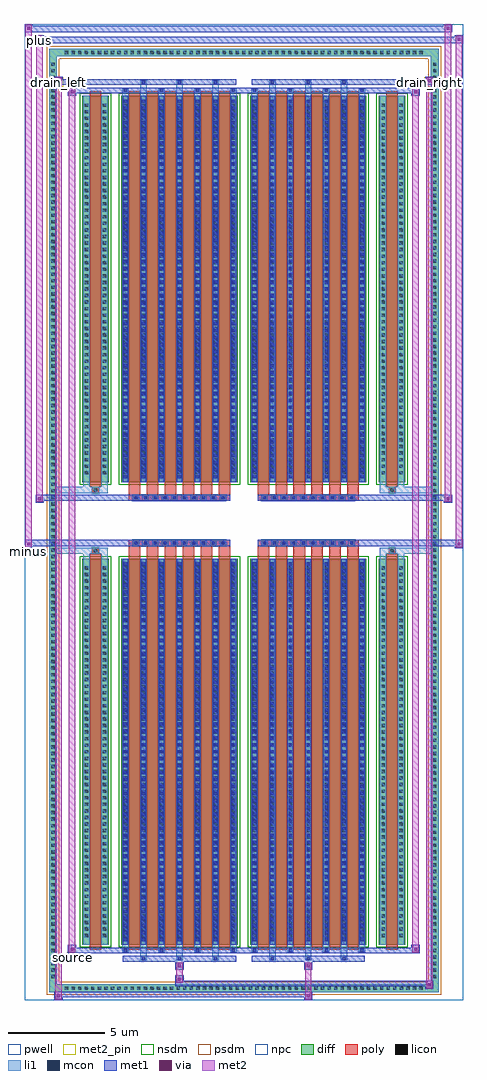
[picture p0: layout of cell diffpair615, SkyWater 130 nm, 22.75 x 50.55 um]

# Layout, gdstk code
import gdstk
lib = gdstk.Library(unit=1e-6, precision=5e-09)
def R(c, l, rs):  # rectangles x0, y0, x1, y1
    for r in rs: c.add(gdstk.rectangle(r[:2], r[2:], *l))
def A(c, l, x, y, w, h, nx, ny, dx, dy):  # array of equal rectangles
    R(c, l, [(x+i*dx, y+j*dy, x+i*dx+w, y+j*dy+h) for i in range(nx) for j in range(ny)])
def P(c, l, *ps):  # polygons
    for p in ps: c.add(gdstk.Polygon(p, *l))
pwell = (64, 44)
diff = (65, 20)
poly = (66, 20)
licon = (66, 44)
li1 = (67, 20)
mcon = (67, 44)
met1 = (68, 20)
via = (68, 44)
met2_pin = (69, 16)
met2 = (69, 20)
nsdm = (93, 44)
psdm = (94, 20)
npc = (95, 20)

diffpair615 = lib.new_cell('diffpair615')
R(diffpair615, pwell, [(-11.36,-24.84,11.36,25.71), (-8.68,-23.03,-0.01,-0.805), (0.01,-23.03,8.68,-0.805), (-8.68,0.805,-0.01,23.03), (0.01,0.805,8.68,23.03)])
A(diffpair615, diff, -9.385, -24.44, 0.41, 0.41, 55, 2, 0.34, 48.47)
A(diffpair615, diff, -10.09, -23.835, 0.41, 0.41, 1, 140, 0, 0.34)
A(diffpair615, diff, 9.68, -23.835, 0.41, 0.41, 1, 140, 0, 0.34)
R(diffpair615, diff, [(-9.385,-24.44,9.385,-24.03), (-10.09,-23.835,-9.68,23.835), (9.68,-23.835,10.09,23.835), (-8.37,-21.985,-6.99,-1.985), (-6.35,-21.985,-0.32,-1.985), (0.32,-21.985,6.35,-1.985), (6.99,-21.985,8.37,-1.985), (-8.37,1.985,-6.99,21.985), (-6.35,1.985,-0.32,21.985), (0.32,1.985,6.35,21.985), (6.99,1.985,8.37,21.985), (-9.385,24.03,9.385,24.44)])
P(diffpair615, diff, [(10.09,24.44),(-10.09,24.44),(-10.09,-24.03),(-9.68,-24.03),(-9.68,24.03),(9.68,24.03),(9.68,-24.03),(-9.68,-24.03),(-10.09,-24.03),(-10.09,-24.44),(10.09,-24.44)])
A(diffpair615, poly, -5.96, -22.235, 0.6, 20.5, 6, 2, 0.93, 23.97)
A(diffpair615, poly, 0.71, -22.235, 0.6, 20.5, 6, 2, 0.93, 23.97)
A(diffpair615, poly, -5.96, -1.735, 0.6, 0.4, 6, 2, 0.93, 3.07)
A(diffpair615, poly, 0.71, -1.735, 0.6, 0.4, 6, 2, 0.93, 3.07)
A(diffpair615, poly, -5.75, -1.335, 0.33, 0.33, 10, 2, 0.5, 2.34)
A(diffpair615, poly, 0.92, -1.335, 0.33, 0.33, 10, 2, 0.5, 2.34)
R(diffpair615, poly, [(-7.98,-22.235,-7.38,-1.735), (7.38,-22.235,7.98,-1.735), (-7.845,-1.735,-7.515,-1.405), (-7.845,-1.735,-7.515,-1.405), (7.515,-1.735,7.845,-1.405), (7.515,-1.735,7.845,-1.405), (-5.96,-1.335,-0.71,-1.005), (0.71,-1.335,5.96,-1.005), (-5.96,1.005,-0.71,1.335), (0.71,1.005,5.96,1.335), (-7.845,1.405,-7.515,1.735), (-7.845,1.405,-7.515,1.735), (7.515,1.405,7.845,1.735), (7.515,1.405,7.845,1.735), (-7.98,1.735,-7.38,22.235), (7.38,1.735,7.98,22.235)])
A(diffpair615, licon, -9.265, -24.32, 0.17, 0.17, 55, 2, 0.34, 48.47)
A(diffpair615, licon, -9.97, -23.715, 0.17, 0.17, 1, 140, 0, 0.34)
A(diffpair615, licon, 9.8, -23.715, 0.17, 0.17, 1, 140, 0, 0.34)
A(diffpair615, licon, -8.23, -21.59, 0.17, 0.17, 1, 57, 0, 0.34)
A(diffpair615, licon, -7.3, -21.59, 0.17, 0.17, 1, 57, 0, 0.34)
A(diffpair615, licon, -6.21, -21.59, 0.17, 0.17, 7, 57, 0.93, 0.34)
A(diffpair615, licon, 0.46, -21.59, 0.17, 0.17, 7, 57, 0.93, 0.34)
A(diffpair615, licon, 7.13, -21.59, 0.17, 0.17, 1, 57, 0, 0.34)
A(diffpair615, licon, 8.06, -21.59, 0.17, 0.17, 1, 57, 0, 0.34)
A(diffpair615, licon, -5.67, -1.255, 0.17, 0.17, 10, 2, 0.5, 2.34)
A(diffpair615, licon, 1, -1.255, 0.17, 0.17, 10, 2, 0.5, 2.34)
A(diffpair615, licon, -8.23, 2.38, 0.17, 0.17, 1, 57, 0, 0.34)
A(diffpair615, licon, -7.3, 2.38, 0.17, 0.17, 1, 57, 0, 0.34)
A(diffpair615, licon, -6.21, 2.38, 0.17, 0.17, 7, 57, 0.93, 0.34)
A(diffpair615, licon, 0.46, 2.38, 0.17, 0.17, 7, 57, 0.93, 0.34)
A(diffpair615, licon, 7.13, 2.38, 0.17, 0.17, 1, 57, 0, 0.34)
A(diffpair615, licon, 8.06, 2.38, 0.17, 0.17, 1, 57, 0, 0.34)
R(diffpair615, licon, [(-7.765,-1.655,-7.595,-1.485), (7.595,-1.655,7.765,-1.485), (-7.765,1.485,-7.595,1.655), (7.595,1.485,7.765,1.655)])
A(diffpair615, li1, -9.345, -24.4, 0.33, 0.33, 55, 2, 0.34, 48.47)
A(diffpair615, li1, -10.05, -23.795, 0.33, 0.33, 1, 140, 0, 0.34)
A(diffpair615, li1, 9.72, -23.795, 0.33, 0.33, 1, 140, 0, 0.34)
A(diffpair615, li1, -5.36, -22.79, 0.33, 0.805, 3, 2, 1.86, 44.775)
A(diffpair615, li1, -5.28, -22.79, 0.17, 0.17, 3, 2, 1.86, 45.41)
A(diffpair615, li1, 1.31, -22.79, 0.33, 0.805, 3, 2, 1.86, 44.775)
A(diffpair615, li1, 1.39, -22.79, 0.17, 0.17, 3, 2, 1.86, 45.41)
A(diffpair615, li1, -6.29, -22.36, 0.33, 0.375, 4, 2, 1.86, 44.345)
A(diffpair615, li1, -6.21, -22.36, 0.17, 0.17, 4, 2, 1.86, 44.55)
A(diffpair615, li1, 0.38, -22.36, 0.33, 0.375, 4, 2, 1.86, 44.345)
A(diffpair615, li1, 0.46, -22.36, 0.17, 0.17, 4, 2, 1.86, 44.55)
A(diffpair615, li1, -6.29, -21.985, 0.33, 20, 7, 2, 0.93, 23.97)
A(diffpair615, li1, 0.38, -21.985, 0.33, 20, 7, 2, 0.93, 23.97)
A(diffpair615, li1, -6.21, -21.79, 0.17, 0.17, 7, 55, 0.93, 0.36)
A(diffpair615, li1, -6.21, -21.79, 0.17, 19.61, 7, 2, 0.93, 23.97)
A(diffpair615, li1, 0.46, -21.79, 0.17, 0.17, 7, 55, 0.93, 0.36)
A(diffpair615, li1, 0.46, -21.79, 0.17, 19.61, 7, 2, 0.93, 23.97)
A(diffpair615, li1, -8.31, -21.67, 0.33, 0.33, 1, 57, 0, 0.34)
A(diffpair615, li1, -7.38, -21.67, 0.33, 0.33, 1, 57, 0, 0.34)
A(diffpair615, li1, -6.29, -21.67, 0.33, 0.33, 7, 57, 0.93, 0.34)
A(diffpair615, li1, 0.38, -21.67, 0.33, 0.33, 7, 57, 0.93, 0.34)
A(diffpair615, li1, 7.05, -21.67, 0.33, 0.33, 1, 57, 0, 0.34)
A(diffpair615, li1, 7.98, -21.67, 0.33, 0.33, 1, 57, 0, 0.34)
A(diffpair615, li1, -5.75, -1.335, 0.33, 0.33, 10, 2, 0.5, 2.34)
A(diffpair615, li1, 0.92, -1.335, 0.33, 0.33, 10, 2, 0.5, 2.34)
A(diffpair615, li1, -6.21, 2.18, 0.17, 0.17, 7, 55, 0.93, 0.36)
A(diffpair615, li1, 0.46, 2.18, 0.17, 0.17, 7, 55, 0.93, 0.36)
A(diffpair615, li1, -8.31, 2.3, 0.33, 0.33, 1, 57, 0, 0.34)
A(diffpair615, li1, -7.38, 2.3, 0.33, 0.33, 1, 57, 0, 0.34)
A(diffpair615, li1, -6.29, 2.3, 0.33, 0.33, 7, 57, 0.93, 0.34)
A(diffpair615, li1, 0.38, 2.3, 0.33, 0.33, 7, 57, 0.93, 0.34)
A(diffpair615, li1, 7.05, 2.3, 0.33, 0.33, 1, 57, 0, 0.34)
A(diffpair615, li1, 7.98, 2.3, 0.33, 0.33, 1, 57, 0, 0.34)
R(diffpair615, li1, [(-10.09,-24.44,-9.68,-24.03), (-10.09,-24.44,-9.68,-24.03), (-9.68,-24.44,9.68,-24.03), (9.68,-24.44,10.09,-24.03), (9.68,-24.44,10.09,-24.03), (-10.09,-24.03,-9.68,24.03), (9.68,-24.03,10.09,24.03), (-8.31,-21.985,-7.98,-1.985), (-7.38,-21.985,-7.05,-1.985), (7.05,-21.985,7.38,-1.985), (7.98,-21.985,8.31,-1.985), (-8.31,-1.985,-7.98,-1.405), (-7.38,-1.985,-7.05,-1.405), (7.05,-1.985,7.38,-1.405), (7.98,-1.985,8.31,-1.405), (-10.09,-1.735,-7.845,-1.405), (-8.31,-1.735,-7.845,-1.405), (-7.845,-1.735,-7.515,-1.405), (-7.515,-1.735,-7.05,-1.405), (7.05,-1.735,7.515,-1.405), (7.515,-1.735,7.845,-1.405), (7.515,-1.735,10.09,-1.405), (7.845,-1.735,8.31,-1.405), (-10.09,1.405,-7.845,1.735), (-8.31,1.405,-7.845,1.735), (-8.31,1.405,-7.98,1.985), (-7.845,1.405,-7.515,1.735), (-7.515,1.405,-7.05,1.735), (-7.38,1.405,-7.05,1.985), (7.05,1.405,7.515,1.735), (7.05,1.405,7.38,1.985), (7.515,1.405,7.845,1.735), (7.515,1.405,10.09,1.735), (7.845,1.405,8.31,1.735), (7.98,1.405,8.31,1.985), (-8.31,1.985,-7.98,21.985), (-7.38,1.985,-7.05,21.985), (7.05,1.985,7.38,21.985), (7.98,1.985,8.31,21.985), (-10.09,24.03,-9.68,24.44), (-10.09,24.03,-9.68,24.44), (-9.68,24.03,9.68,24.44), (9.68,24.03,10.09,24.44), (9.68,24.03,10.09,24.44)])
A(diffpair615, mcon, -5.28, -22.79, 0.17, 0.17, 3, 2, 1.86, 45.41)
A(diffpair615, mcon, 1.39, -22.79, 0.17, 0.17, 3, 2, 1.86, 45.41)
A(diffpair615, mcon, -6.21, -22.36, 0.17, 0.17, 4, 2, 1.86, 44.55)
A(diffpair615, mcon, 0.46, -22.36, 0.17, 0.17, 4, 2, 1.86, 44.55)
A(diffpair615, mcon, -6.21, -21.79, 0.17, 0.17, 7, 55, 0.93, 0.36)
A(diffpair615, mcon, 0.46, -21.79, 0.17, 0.17, 7, 55, 0.93, 0.36)
A(diffpair615, mcon, -5.67, -1.255, 0.17, 0.17, 10, 2, 0.5, 2.34)
A(diffpair615, mcon, 1, -1.255, 0.17, 0.17, 10, 2, 0.5, 2.34)
A(diffpair615, mcon, -6.21, 2.18, 0.17, 0.17, 7, 55, 0.93, 0.36)
A(diffpair615, mcon, 0.46, 2.18, 0.17, 0.17, 7, 55, 0.93, 0.36)
A(diffpair615, met1, -5.34, -22.85, 0.29, 0.29, 3, 2, 1.86, 45.41)
A(diffpair615, met1, 1.33, -22.85, 0.29, 0.29, 3, 2, 1.86, 45.41)
A(diffpair615, met1, -6.27, -22.42, 0.29, 0.29, 4, 2, 1.86, 44.55)
A(diffpair615, met1, 0.4, -22.42, 0.29, 0.29, 4, 2, 1.86, 44.55)
A(diffpair615, met1, -6.27, -21.985, 0.29, 20, 7, 2, 0.93, 23.97)
A(diffpair615, met1, 0.4, -21.985, 0.29, 20, 7, 2, 0.93, 23.97)
A(diffpair615, met1, -6.27, -21.85, 0.29, 0.29, 7, 55, 0.93, 0.36)
A(diffpair615, met1, 0.4, -21.85, 0.29, 0.29, 7, 55, 0.93, 0.36)
A(diffpair615, met1, -5.73, -1.315, 0.29, 0.29, 10, 2, 0.5, 2.34)
A(diffpair615, met1, 0.94, -1.315, 0.29, 0.29, 10, 2, 0.5, 2.34)
A(diffpair615, met1, -6.27, 2.12, 0.29, 0.29, 7, 55, 0.93, 0.36)
A(diffpair615, met1, 0.4, 2.12, 0.29, 0.29, 7, 55, 0.93, 0.36)
R(diffpair615, met1, [(-9.82,-24.84,-9.39,-24.41), (3.12,-24.84,3.55,-24.41), (-9.82,-24.7,3.55,-24.41), (9.39,-24.27,9.82,-23.84), (-3.55,-24.13,9.82,-23.84), (-3.55,-23.99,-3.12,-23.56), (-3.55,-23.28,-3.12,-22.85), (3.12,-23.28,3.55,-22.85), (-6.27,-22.85,-0.4,-22.56), (0.4,-22.85,6.27,-22.56), (-9.11,-22.42,-8.68,-21.99), (-9.11,-22.42,-6.27,-22.13), (-6.27,-22.42,-0.4,-22.13), (-0.4,-22.42,0.4,-22.13), (0.4,-22.42,6.27,-22.13), (6.27,-22.42,9.11,-22.13), (8.68,-22.42,9.11,-21.99), (-11.36,-1.435,-10.93,-1.005), (10.93,-1.435,11.36,-1.005), (-11.36,-1.335,-0.71,-1.005), (-5.96,-1.335,-0.71,-1.005), (0.71,-1.335,5.96,-1.005), (0.71,-1.335,11.36,-1.005), (-10.79,0.905,-10.36,1.335), (10.36,0.905,10.79,1.335), (-10.79,1.005,-5.96,1.335), (-5.96,1.005,-0.71,1.335), (0.71,1.005,5.96,1.335), (5.96,1.005,10.79,1.335), (-9.11,21.99,-8.68,22.42), (8.68,21.99,9.11,22.42), (-9.11,22.13,-6.27,22.42), (-6.27,22.13,-0.4,22.42), (-0.4,22.13,0.4,22.42), (0.4,22.13,6.27,22.42), (6.27,22.13,9.11,22.42), (-9.82,22.56,-9.39,22.99), (-9.82,22.56,-6.27,22.85), (-6.27,22.56,-0.4,22.85), (0.4,22.56,6.27,22.85), (6.27,22.56,9.82,22.85), (9.39,22.56,9.82,22.99), (-10.79,24.71,-10.36,25.14), (-10.79,24.71,-8.68,25.04), (-8.68,24.71,8.68,25.04), (8.68,24.71,11.36,25.04), (10.93,24.71,11.36,25.14), (-11.36,25.28,-10.93,25.71), (-11.36,25.28,-8.68,25.61), (-8.68,25.28,8.68,25.61), (8.68,25.28,10.79,25.61), (10.36,25.28,10.79,25.71)])
R(diffpair615, via, [(-9.68,-24.7,-9.53,-24.55), (3.26,-24.7,3.41,-24.55), (9.53,-24.13,9.68,-23.98), (-3.41,-23.85,-3.26,-23.7), (-3.41,-23.14,-3.26,-22.99), (3.26,-23.14,3.41,-22.99), (-8.97,-22.28,-8.82,-22.13), (8.82,-22.28,8.97,-22.13), (-11.22,-1.295,-11.07,-1.145), (11.07,-1.295,11.22,-1.145), (-10.65,1.045,-10.5,1.195), (10.5,1.045,10.65,1.195), (-8.97,22.13,-8.82,22.28), (8.82,22.13,8.97,22.28), (-9.68,22.7,-9.53,22.85), (9.53,22.7,9.68,22.85), (-10.65,24.85,-10.5,25), (11.07,24.85,11.22,25), (-11.22,25.42,-11.07,25.57), (10.5,25.42,10.65,25.57)])
R(diffpair615, met2_pin, [(-9.145,-22.87,-8.645,-22.37), (-11.395,-1.885,-10.895,-1.385), (-9.855,22.44,-9.355,22.94), (9.355,22.44,9.855,22.94), (-10.825,24.59,-10.325,25.09)])
R(diffpair615, met2, [(-9.77,-24.79,-9.44,-24.46), (-9.77,-24.79,-9.44,22.94), (3.17,-24.79,3.5,-24.46), (3.17,-24.46,3.5,-23.23), (9.44,-24.22,9.77,-23.89), (9.44,-24.22,9.77,22.94), (-3.5,-23.94,-3.17,-23.61), (-3.5,-23.61,-3.17,-23.23), (-3.5,-23.23,-3.17,-22.9), (3.17,-23.23,3.5,-22.9), (-9.06,-22.37,-8.73,-22.04), (-9.06,-22.37,-8.73,22.37), (8.73,-22.37,9.06,-22.04), (8.73,-22.37,9.06,22.37), (-11.31,-1.385,-10.98,-1.055), (-11.31,-1.385,-10.98,25.66), (10.98,-1.385,11.31,-1.055), (10.98,-1.385,11.31,25.09), (-10.74,0.955,-10.41,1.285), (-10.74,0.955,-10.41,25.09), (10.41,0.955,10.74,1.285), (10.41,0.955,10.74,25.66), (-9.06,22.04,-8.73,22.37), (8.73,22.04,9.06,22.37), (-9.77,22.61,-9.44,22.94), (9.44,22.61,9.77,22.94), (-10.74,24.76,-10.41,25.09), (10.98,24.76,11.31,25.09), (-11.31,25.33,-10.98,25.66), (10.41,25.33,10.74,25.66)])
P(diffpair615, met2, [(11.31,-1.385),(11.31,-1.385),(11.31,-1.055),(11.31,-1.055)],
  [(11.31,24.76),(11.31,24.76),(11.31,25.09),(11.31,25.09)],
  [(-10.98,-1.385),(-10.98,-1.385),(-10.98,-1.055),(-10.98,-1.055)],
  [(-10.98,25.33),(-10.98,25.33),(-10.98,25.66),(-10.98,25.66)],
  [(10.74,0.955),(10.74,0.955),(10.74,1.285),(10.74,1.285)],
  [(10.74,25.33),(10.74,25.33),(10.74,25.66),(10.74,25.66)],
  [(-10.41,0.955),(-10.41,0.955),(-10.41,1.285),(-10.41,1.285)],
  [(-10.41,24.76),(-10.41,24.76),(-10.41,25.09),(-10.41,25.09)],
  [(-9.44,-24.79),(-9.44,-24.79),(-9.44,-24.46),(-9.44,-24.46)],
  [(-9.44,22.61),(-9.44,22.61),(-9.44,22.94),(-9.44,22.94)],
  [(9.77,-24.22),(9.77,-24.22),(9.77,-23.89),(9.77,-23.89)],
  [(9.77,22.61),(9.77,22.61),(9.77,22.94),(9.77,22.94)],
  [(-8.73,-22.37),(-8.73,-22.37),(-8.73,-22.04),(-8.73,-22.04)],
  [(-8.73,22.04),(-8.73,22.04),(-8.73,22.37),(-8.73,22.37)],
  [(9.06,-22.37),(9.06,-22.37),(9.06,-22.04),(9.06,-22.04)],
  [(9.06,22.04),(9.06,22.04),(9.06,22.37),(9.06,22.37)])
R(diffpair615, nsdm, [(-8.5,-22.115,-6.86,-1.855), (-6.48,-22.115,-0.19,-1.855), (0.19,-22.115,6.48,-1.855), (6.86,-22.115,8.5,-1.855), (-8.5,1.855,-6.86,22.115), (-6.48,1.855,-0.19,22.115), (0.19,1.855,6.48,22.115), (6.86,1.855,8.5,22.115)])
P(diffpair615, psdm, [(10.22,24.57),(-10.22,24.57),(-10.22,-23.9),(-9.55,-23.9),(-9.55,23.9),(9.55,23.9),(9.55,-23.9),(-9.55,-23.9),(-10.22,-23.9),(-10.22,-24.57),(10.22,-24.57)])
A(diffpair615, npc, -5.77, -1.355, 0.37, 0.37, 10, 2, 0.5, 2.34)
A(diffpair615, npc, 0.9, -1.355, 0.37, 0.37, 10, 2, 0.5, 2.34)
R(diffpair615, npc, [(-7.865,-1.755,-7.495,-1.385), (7.495,-1.755,7.865,-1.385), (-5.77,-1.355,-4.9,-0.985), (-5.77,-1.355,-4.9,-0.985), (-5.27,-1.355,-4.4,-0.985), (-5.27,-1.355,-4.4,-0.985), (-4.77,-1.355,-3.9,-0.985), (-4.77,-1.355,-3.9,-0.985), (-4.27,-1.355,-3.4,-0.985), (-4.27,-1.355,-3.4,-0.985), (-3.77,-1.355,-2.9,-0.985), (-3.77,-1.355,-2.9,-0.985), (-3.27,-1.355,-2.4,-0.985), (-3.27,-1.355,-2.4,-0.985), (-2.77,-1.355,-1.9,-0.985), (-2.77,-1.355,-1.9,-0.985), (-2.27,-1.355,-1.4,-0.985), (-2.27,-1.355,-1.4,-0.985), (-1.77,-1.355,-0.9,-0.985), (-1.77,-1.355,-0.9,-0.985), (0.9,-1.355,1.77,-0.985), (0.9,-1.355,1.77,-0.985), (1.4,-1.355,2.27,-0.985), (1.4,-1.355,2.27,-0.985), (1.9,-1.355,2.77,-0.985), (1.9,-1.355,2.77,-0.985), (2.4,-1.355,3.27,-0.985), (2.4,-1.355,3.27,-0.985), (2.9,-1.355,3.77,-0.985), (2.9,-1.355,3.77,-0.985), (3.4,-1.355,4.27,-0.985), (3.4,-1.355,4.27,-0.985), (3.9,-1.355,4.77,-0.985), (3.9,-1.355,4.77,-0.985), (4.4,-1.355,5.27,-0.985), (4.4,-1.355,5.27,-0.985), (4.9,-1.355,5.77,-0.985), (4.9,-1.355,5.77,-0.985), (-5.77,0.985,-4.9,1.355), (-5.77,0.985,-4.9,1.355), (-5.27,0.985,-4.4,1.355), (-5.27,0.985,-4.4,1.355), (-4.77,0.985,-3.9,1.355), (-4.77,0.985,-3.9,1.355), (-4.27,0.985,-3.4,1.355), (-4.27,0.985,-3.4,1.355), (-3.77,0.985,-2.9,1.355), (-3.77,0.985,-2.9,1.355), (-3.27,0.985,-2.4,1.355), (-3.27,0.985,-2.4,1.355), (-2.77,0.985,-1.9,1.355), (-2.77,0.985,-1.9,1.355), (-2.27,0.985,-1.4,1.355), (-2.27,0.985,-1.4,1.355), (-1.77,0.985,-0.9,1.355), (-1.77,0.985,-0.9,1.355), (0.9,0.985,1.77,1.355), (0.9,0.985,1.77,1.355), (1.4,0.985,2.27,1.355), (1.4,0.985,2.27,1.355), (1.9,0.985,2.77,1.355), (1.9,0.985,2.77,1.355), (2.4,0.985,3.27,1.355), (2.4,0.985,3.27,1.355), (2.9,0.985,3.77,1.355), (2.9,0.985,3.77,1.355), (3.4,0.985,4.27,1.355), (3.4,0.985,4.27,1.355), (3.9,0.985,4.77,1.355), (3.9,0.985,4.77,1.355), (4.4,0.985,5.27,1.355), (4.4,0.985,5.27,1.355), (4.9,0.985,5.77,1.355), (4.9,0.985,5.77,1.355), (-7.865,1.385,-7.495,1.755), (7.495,1.385,7.865,1.755)])
diffpair615.add(gdstk.Label('minus', (-11.145,-1.635), layer=69, texttype=5))
diffpair615.add(gdstk.Label('drain_right', (9.605,22.69), layer=69, texttype=5))
diffpair615.add(gdstk.Label('drain_left', (-9.605,22.69), layer=69, texttype=5))
diffpair615.add(gdstk.Label('source', (-8.895,-22.62), layer=69, texttype=5))
diffpair615.add(gdstk.Label('plus', (-10.575,24.84), layer=69, texttype=5))

lib.write_gds('diffpair615.gds')
